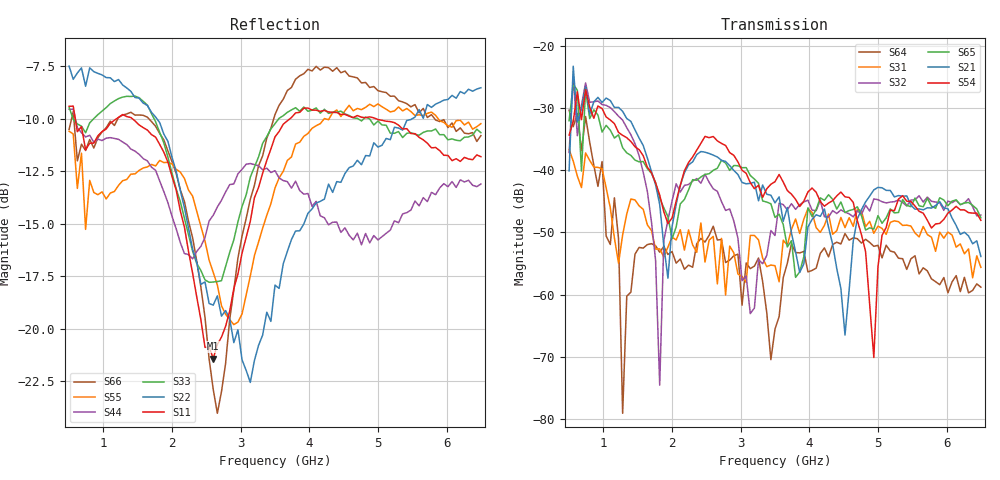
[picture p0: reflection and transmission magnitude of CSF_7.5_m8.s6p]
!Keysight Technologies,M9804A,MY58100912,A.14.10.03
!Date: Thursday, April 27, 2023 10:28:33
!Correction: S11(C  6-Port  )
!S12(C  6-Port  )
!S13(C  6-Port  )
!S14(C  6-Port  )
!S15(C  6-Port  )
!S16(C  6-Port  )
!S21(C  6-Port  )
!S22(C  6-Port  )
!S23(C  6-Port  )
!S24(C  6-Port  )
!S25(C  6-Port  )
!S26(C  6-Port  )
!S31(C  6-Port  )
!S32(C  6-Port  )
!S33(C  6-Port  )
!S34(C  6-Port  )
!S35(C  6-Port  )
!S36(C  6-Port  )
!S41(C  6-Port  )
!S42(C  6-Port  )
!S43(C  6-Port  )
!S44(C  6-Port  )
!S45(C  6-Port  )
!S46(C  6-Port  )
!S51(C  6-Port  )
!S52(C  6-Port  )
!S53(C  6-Port  )
!S54(C  6-Port  )
!S55(C  6-Port  )
!S56(C  6-Port  )
!S61(C  6-Port  )
!S62(C  6-Port  )
!S63(C  6-Port  )
!S64(C  6-Port  )
!S65(C  6-Port  )
!S66(C  6-Port  )
!S6P File: Measurement: :
# Hz S  RI  R 50
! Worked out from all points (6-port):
!   101 points, 500 MHz to 6.5 GHz, reference 50 ohm
!   strongest paths, dB at 500 MHz, 2 GHz, 3.5 GHz, 5 GHz, 6.5 GHz:
!     S54: -34.4, -47.7, -41.9, -55.5, -48.1
!     S21: -40.1, -49.1, -45.3, -42.8, -53.9
!     S65: -32.0, -51.0, -47.6, -47.3, -47.6
!     S32: -37.2, -44.9, -50.5, -44.7, -47.2
!     S31: -36.7, -50.8, -55.4, -49.0, -55.6
!     S64: -30.4, -53.1, -65.5, -52.1, -58.8
!   lowest |S11| = -21.4 dB at 2.6 GHz (marker M1), VSWR 1.19, Z = 42.5 + j2.24 ohm
!   |S11| at or under -10 dB: 589.9 MHz to 1.188 GHz (598.4 MHz wide, 67.3 % of centre); 1.424 GHz to 3.715 GHz (2.291 GHz wide, 89.2 % of centre); 4.976 GHz to end of sweep
